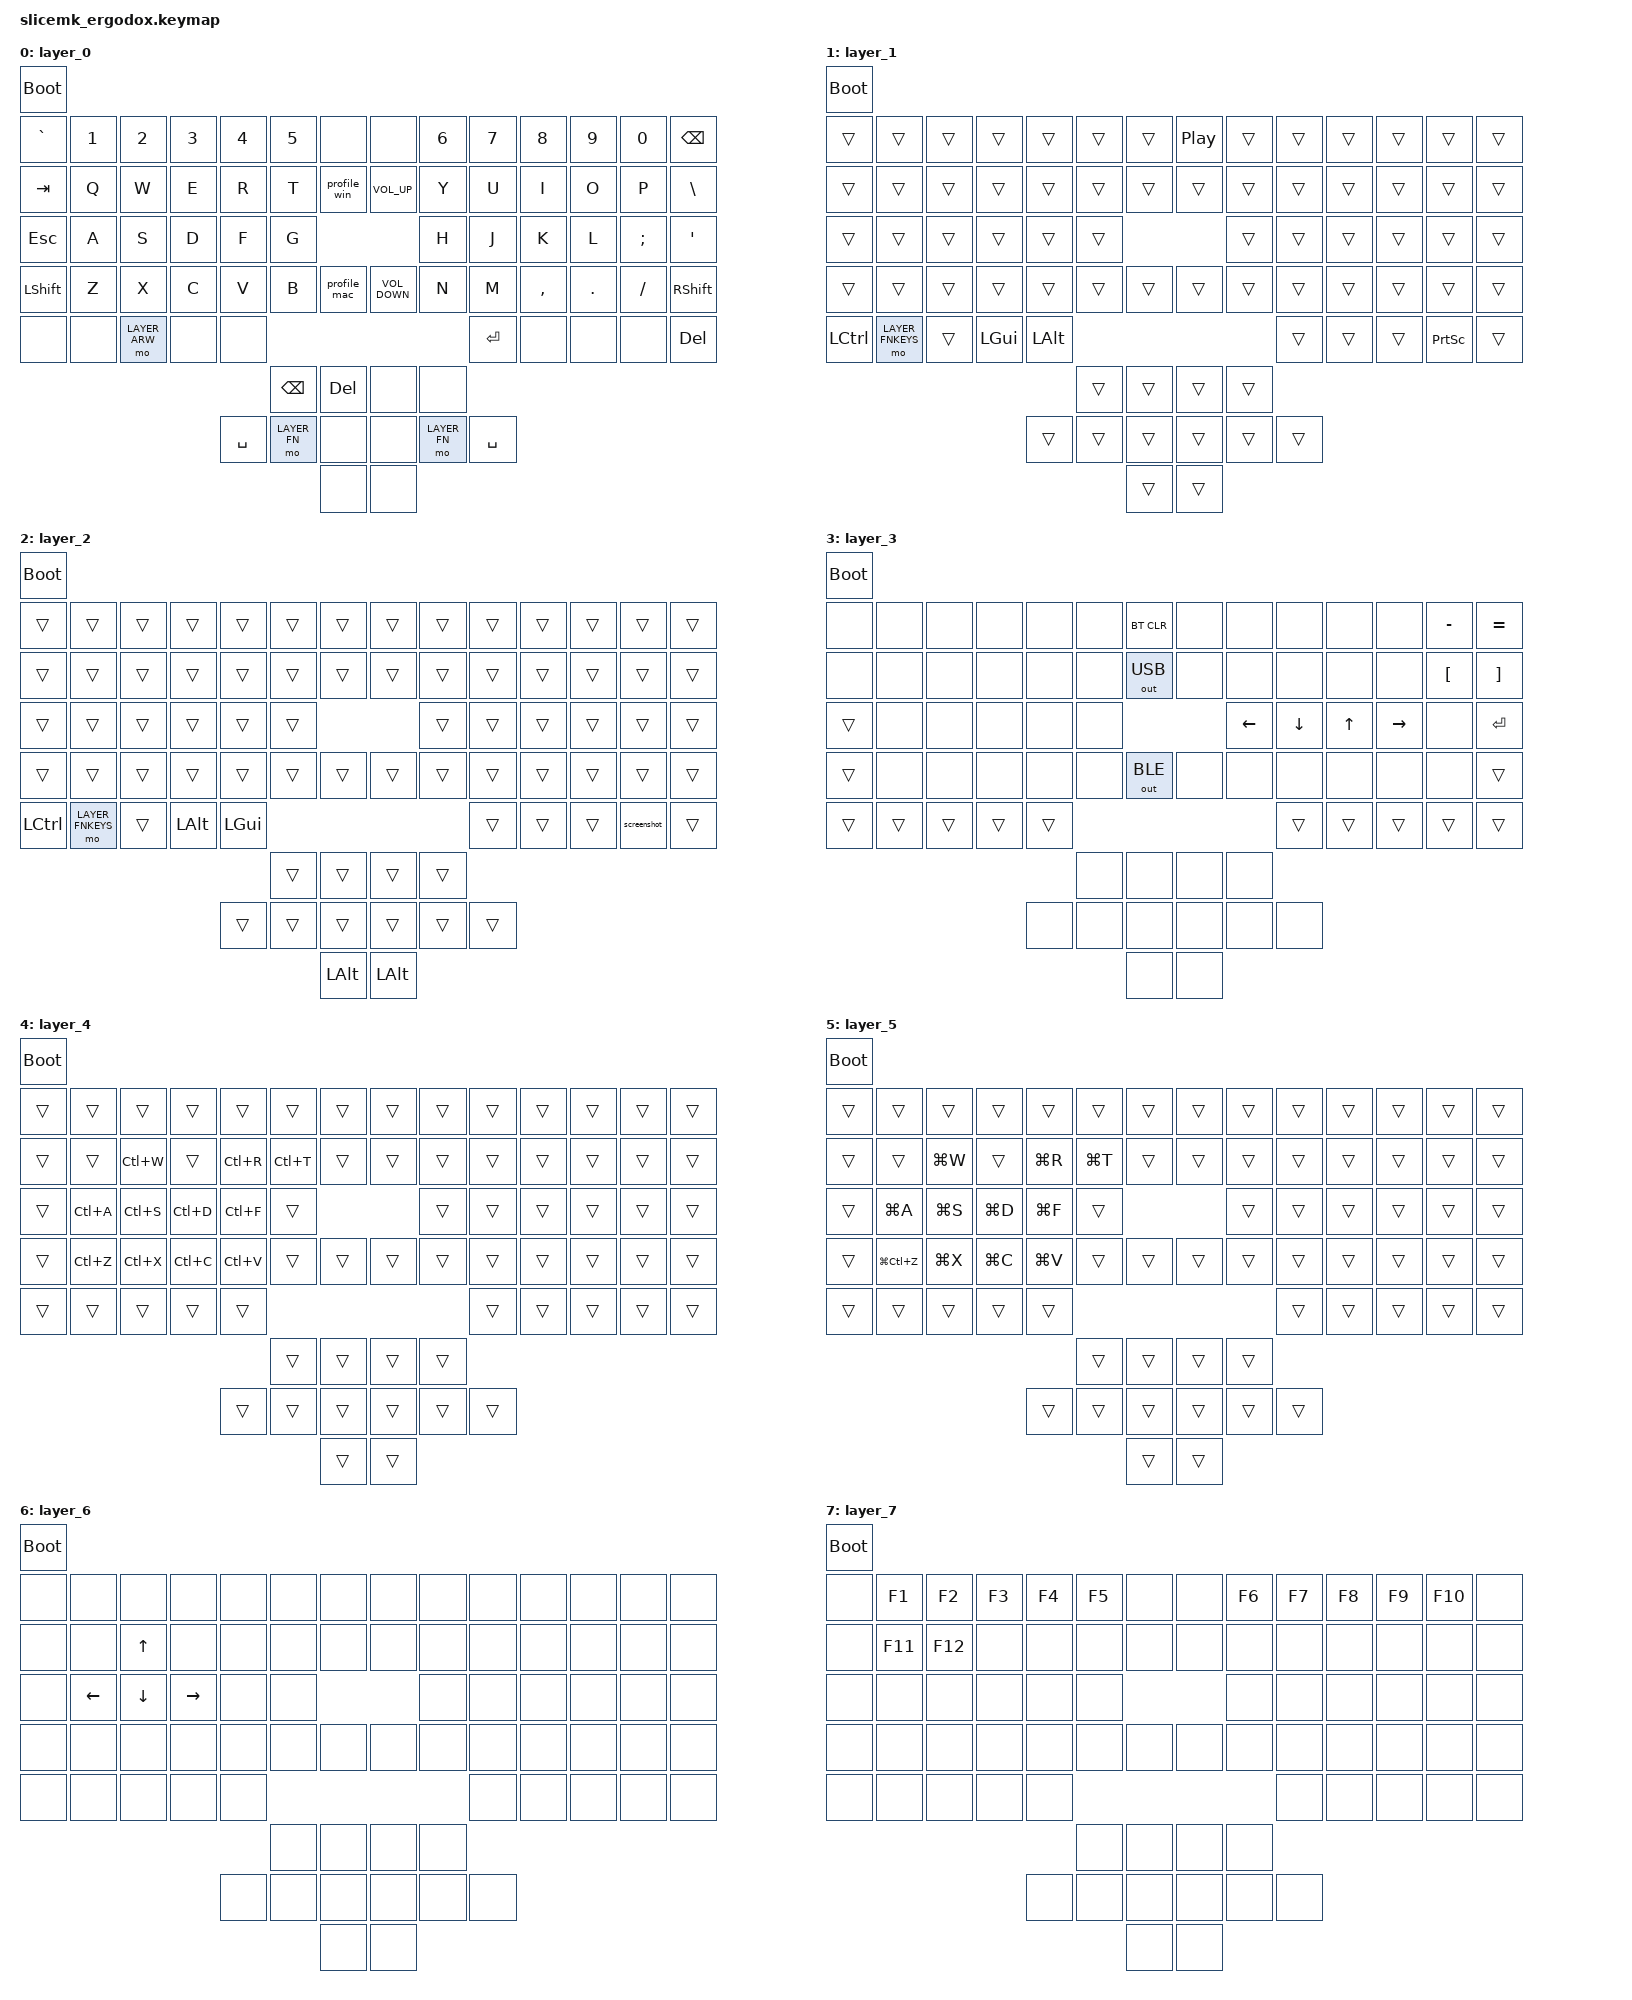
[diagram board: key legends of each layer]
#include <behaviors.dtsi>
#include <dt-bindings/zmk/bt.h>
#include <dt-bindings/zmk/keys.h>
#include <dt-bindings/zmk/outputs.h>
#include <dt-bindings/zmk/rgb.h>

#define LAYER_MAIN 0
#define LAYER_WIN 1
#define LAYER_MAC 2
#define LAYER_FN 3
#define LAYER_FNWIN 4
#define LAYER_FNMAC 5
#define LAYER_ARW 6
#define LAYER_FNKEYS 7

/ {
    conditional_layers {
        compatible = "zmk,conditional-layers";
        fn_win {
            if-layers = <LAYER_WIN LAYER_FN>;
            then-layer = <LAYER_FNWIN>;
        };
        fn_mac {
            if-layers = <LAYER_MAC LAYER_FN>;
            then-layer = <LAYER_FNMAC>;
        };
    };
    macros {
        profile_win: profile_win {
            label = "ZM_profile_win";
            compatible = "zmk,behavior-macro";
            #binding-cells = <0>;
            bindings
                = <&to LAYER_WIN>
                , <&bt BT_SEL 1>
                ;
        };
        profile_mac: profile_mac {
            label = "ZM_profile_mac";
            compatible = "zmk,behavior-macro";
            #binding-cells = <0>;
            bindings
                = <&to LAYER_MAC>
                , <&bt BT_SEL 2>
                ;
        };
        screenshot: screenshot {
            label = "ZM_screenshot";
            compatible = "zmk,behavior-macro";
            #binding-cells = <0>;
            bindings
                = <&macro_press &kp LGUI>
                , <&macro_tap &kp SPC>
                , <&macro_release &kp LGUI>
                , <&macro_tap &kp S &kp C &kp R &kp E &kp E &kp N &kp S &kp H &kp O &kp T &kp ENTER>
                ;
        };
    };
};

/ {
	keymap {
		compatible = "zmk,keymap";
		layer_0 {
			bindings = <
				&bootloader
				&kp GRAVE      &kp NUMBER_1 &kp NUMBER_2  &kp NUMBER_3 &kp NUMBER_4 &kp NUMBER_5  &none        &none             &kp NUMBER_6 &kp NUMBER_7 &kp NUMBER_8 &kp NUMBER_9 &kp NUMBER_0  &kp BACKSPACE
				&kp TAB        &kp Q        &kp W         &kp E        &kp R        &kp T         &profile_win &kp C_VOLUME_UP   &kp Y        &kp U        &kp I        &kp O        &kp P         &kp BACKSLASH
				&kp ESCAPE     &kp A        &kp S         &kp D        &kp F        &kp G                                        &kp H        &kp J        &kp K        &kp L        &kp SEMICOLON &kp SINGLE_QUOTE
				&kp LEFT_SHIFT &kp Z        &kp X         &kp C        &kp V        &kp B         &profile_mac &kp C_VOLUME_DOWN &kp N        &kp M        &kp COMMA    &kp PERIOD   &kp SLASH     &kp RIGHT_SHIFT
				&none          &none        &mo LAYER_ARW &none        &none                                                                  &kp RETURN   &none        &none        &none         &kp DELETE
				                                                                    &kp BACKSPACE &kp DELETE   &none             &none
				                                                       &kp SPACE    &mo LAYER_FN  &none        &none             &mo LAYER_FN &kp SPACE
				                                                                                  &none        &none
			>;
		};
		layer_1 {
			bindings = <
				&bootloader
				&trans           &trans           &trans &trans       &trans       &trans &trans &kp C_PLAY_PAUSE &trans &trans &trans &trans &trans          &trans
				&trans           &trans           &trans &trans       &trans       &trans &trans &trans           &trans &trans &trans &trans &trans          &trans
				&trans           &trans           &trans &trans       &trans       &trans                         &trans &trans &trans &trans &trans          &trans
				&trans           &trans           &trans &trans       &trans       &trans &trans &trans           &trans &trans &trans &trans &trans          &trans
				&kp LEFT_CONTROL &mo LAYER_FNKEYS &trans &kp LEFT_GUI &kp LEFT_ALT                                       &trans &trans &trans &kp PRINTSCREEN &trans
				                                                                   &trans &trans &trans           &trans
				                                                      &trans       &trans &trans &trans           &trans &trans
				                                                                          &trans &trans
			>;
		};
		layer_2 {
			bindings = <
				&bootloader
				&trans           &trans           &trans &trans       &trans       &trans &trans       &trans       &trans &trans &trans &trans &trans      &trans
				&trans           &trans           &trans &trans       &trans       &trans &trans       &trans       &trans &trans &trans &trans &trans      &trans
				&trans           &trans           &trans &trans       &trans       &trans                           &trans &trans &trans &trans &trans      &trans
				&trans           &trans           &trans &trans       &trans       &trans &trans       &trans       &trans &trans &trans &trans &trans      &trans
				&kp LEFT_CONTROL &mo LAYER_FNKEYS &trans &kp LEFT_ALT &kp LEFT_GUI                                         &trans &trans &trans &screenshot &trans
				                                                                   &trans &trans       &trans       &trans
				                                                      &trans       &trans &trans       &trans       &trans &trans
				                                                                          &kp LEFT_ALT &kp LEFT_ALT
			>;
		};
		layer_3 {
			bindings = <
				&bootloader
				&none  &none  &none  &none  &none  &none &bt BT_CLR   &none &none          &none          &none        &none           &kp MINUS        &kp EQUAL
				&none  &none  &none  &none  &none  &none &out OUT_USB &none &none          &none          &none        &none           &kp LEFT_BRACKET &kp RIGHT_BRACKET
				&trans &none  &none  &none  &none  &none                    &kp LEFT_ARROW &kp DOWN_ARROW &kp UP_ARROW &kp RIGHT_ARROW &none            &kp RETURN
				&trans &none  &none  &none  &none  &none &out OUT_BLE &none &none          &none          &none        &none           &none            &trans
				&trans &trans &trans &trans &trans                                         &trans         &trans       &trans          &trans           &trans
				                                   &none &none        &none &none
				                            &none  &none &none        &none &none          &none
				                                         &none        &none
			>;
		};
		layer_4 {
			bindings = <
				&bootloader
				&trans &trans    &trans    &trans    &trans    &trans    &trans &trans &trans &trans &trans &trans &trans &trans
				&trans &trans    &kp LC(W) &trans    &kp LC(R) &kp LC(T) &trans &trans &trans &trans &trans &trans &trans &trans
				&trans &kp LC(A) &kp LC(S) &kp LC(D) &kp LC(F) &trans                  &trans &trans &trans &trans &trans &trans
				&trans &kp LC(Z) &kp LC(X) &kp LC(C) &kp LC(V) &trans    &trans &trans &trans &trans &trans &trans &trans &trans
				&trans &trans    &trans    &trans    &trans                                   &trans &trans &trans &trans &trans
				                                               &trans    &trans &trans &trans
				                                     &trans    &trans    &trans &trans &trans &trans
				                                                         &trans &trans
			>;
		};
		layer_5 {
			bindings = <
				&bootloader
				&trans &trans        &trans    &trans    &trans    &trans    &trans &trans &trans &trans &trans &trans &trans &trans
				&trans &trans        &kp LG(W) &trans    &kp LG(R) &kp LG(T) &trans &trans &trans &trans &trans &trans &trans &trans
				&trans &kp LG(A)     &kp LG(S) &kp LG(D) &kp LG(F) &trans                  &trans &trans &trans &trans &trans &trans
				&trans &kp LG(LC(Z)) &kp LG(X) &kp LG(C) &kp LG(V) &trans    &trans &trans &trans &trans &trans &trans &trans &trans
				&trans &trans        &trans    &trans    &trans                                   &trans &trans &trans &trans &trans
				                                                   &trans    &trans &trans &trans
				                                         &trans    &trans    &trans &trans &trans &trans
				                                                             &trans &trans
			>;
		};
		layer_6 {
			bindings = <
				&bootloader
				&none &none          &none          &none           &none &none &none &none &none &none &none &none &none &none
				&none &none          &kp UP_ARROW   &none           &none &none &none &none &none &none &none &none &none &none
				&none &kp LEFT_ARROW &kp DOWN_ARROW &kp RIGHT_ARROW &none &none             &none &none &none &none &none &none
				&none &none          &none          &none           &none &none &none &none &none &none &none &none &none &none
				&none &none          &none          &none           &none                         &none &none &none &none &none
				                                                          &none &none &none &none
				                                                    &none &none &none &none &none &none
				                                                                &none &none
			>;
		};
		layer_7 {
			bindings = <
				&bootloader
				&none &kp F1  &kp F2  &kp F3 &kp F4 &kp F5 &none &none &kp F6 &kp F7 &kp F8 &kp F9 &kp F10 &none
				&none &kp F11 &kp F12 &none  &none  &none  &none &none &none  &none  &none  &none  &none   &none
				&none &none   &none   &none  &none  &none              &none  &none  &none  &none  &none   &none
				&none &none   &none   &none  &none  &none  &none &none &none  &none  &none  &none  &none   &none
				&none &none   &none   &none  &none                            &none  &none  &none  &none   &none
				                                    &none  &none &none &none
				                             &none  &none  &none &none &none  &none
				                                           &none &none
			>;
		};
	};

};
